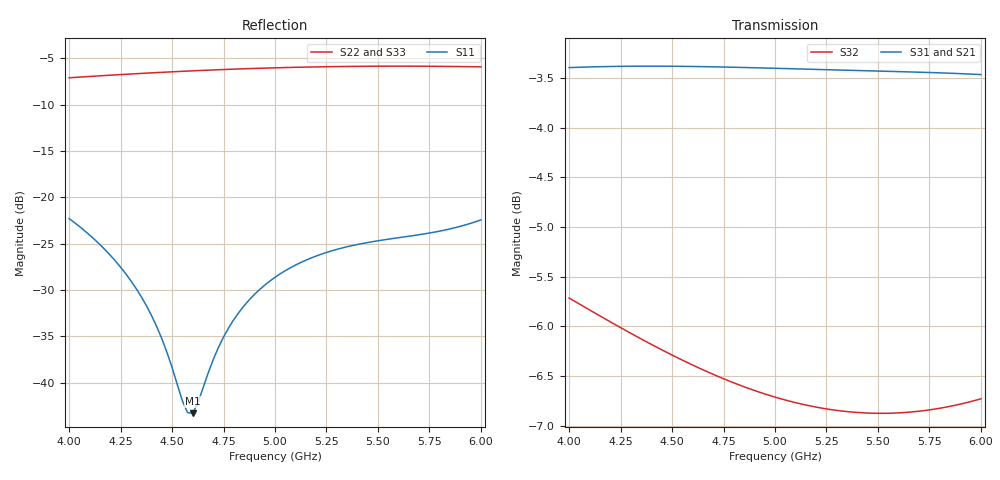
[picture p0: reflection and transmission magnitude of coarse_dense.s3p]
! yapnr rf: divider-osh-w-star-s21-guard, footprint re-simulated (optimization grid)
! spec sha256 03d733a7fbe4f4bffe69570845329ad34bf43d2be3787ac8cdc4bcb0e68c03df
! 3 ports renormalized to 50 ohm, e^(+jwt) convention
# GHz S RI R 50
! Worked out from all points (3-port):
!   85 points, 4 GHz to 6 GHz, reference 50 ohm
!   strongest paths, dB at 4 GHz, 4.5 GHz, 5 GHz, 5.5 GHz, 6 GHz:
!     S31: -3.4, -3.4, -3.4, -3.4, -3.5
!     S21: -3.4, -3.4, -3.4, -3.4, -3.5
!     S32: -5.7, -6.3, -6.7, -6.9, -6.7
!   lowest |S11| = -43.3 dB at 4.6 GHz (marker M1), VSWR 1.01, Z = 50.1 - j0.678 ohm
!   |S11| at or under -10 dB: start of sweep to end of sweep
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4  0.0536 0.055  -0.6758 0.0349  -0.6758 0.0349
   -0.6757 0.0343  0.224 -0.3803  -0.2748 0.4389
   -0.6757 0.0343  -0.2748 0.4389  0.224 -0.3803
4.325  0.03 0.0118  -0.6399 0.2225  -0.6399 0.2225
       -0.6404 0.2216  0.1018 -0.453  -0.1206 0.4806
       -0.6404 0.2216  -0.1206 0.4806  0.1018 -0.453
4.45  0.0172 0.00108  -0.6117 0.291  -0.6117 0.291
      -0.6124 0.29  0.0501 -0.4696  -0.0622 0.4837
      -0.6124 0.29  -0.0622 0.4837  0.0501 -0.4696
4.575  0.00365 -0.00585  -0.5759 0.356  -0.5759 0.356
       -0.5769 0.3551  -0.00291 -0.4797  -0.00552 0.4805
       -0.5769 0.3551  -0.00552 0.4805  -0.00291 -0.4797
4.6  0.000911 -0.00677  -0.5678 0.3685  -0.5678 0.3685
     -0.569 0.3676  -0.0136 -0.4809  0.00559 0.4791
     -0.569 0.3676  0.00559 0.4791  -0.0136 -0.4809
4.775  -0.0176 -0.00888  -0.5041 0.4507  -0.5041 0.4507
       -0.5056 0.4501  -0.0881 -0.4822  0.0807 0.4635
       -0.5056 0.4501  0.0807 0.4635  -0.0881 -0.4822
5  -0.037 -0.00125  -0.4044 0.5403  -0.4044 0.5403
   -0.4063 0.5402  -0.1808 -0.4655  0.1696 0.4294
   -0.4063 0.5402  0.1696 0.4294  -0.1808 -0.4655
5.225  -0.0468 0.0155  -0.2885 0.6086  -0.2885 0.6086
       -0.2906 0.6093  -0.2658 -0.4304  0.2491 0.3818
       -0.2906 0.6093  0.2491 0.3818  -0.2658 -0.4304
5.525  -0.039 0.044  -0.1158 0.6617  -0.1158 0.6617
       -0.1176 0.6634  -0.3608 -0.36  0.3395 0.3
       -0.1176 0.6634  0.3395 0.3  -0.3608 -0.36
6  0.0282 0.07  0.1743 0.6451  0.1743 0.6451
   0.1743 0.648  -0.4571 -0.2158  0.4417 0.131
   0.1743 0.648  0.4417 0.131  -0.4571 -0.2158
